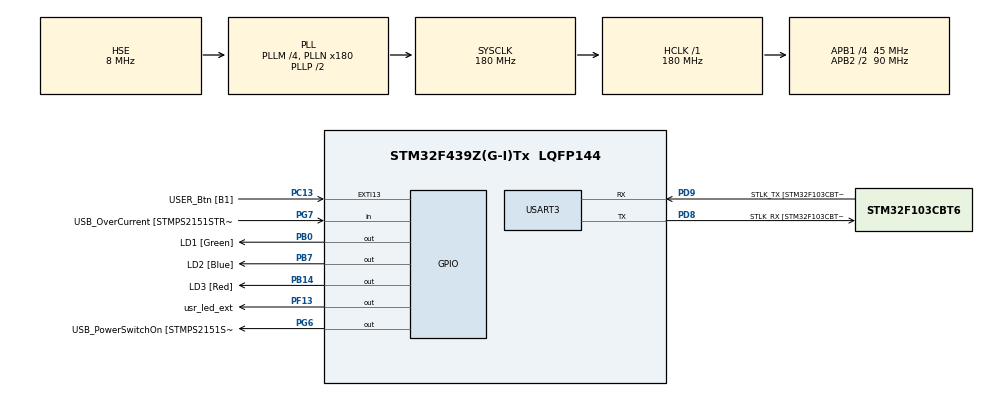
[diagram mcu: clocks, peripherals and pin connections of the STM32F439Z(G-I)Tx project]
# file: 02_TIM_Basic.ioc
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Mcu.Family=STM32F4
Mcu.Name=STM32F439Z(G-I)Tx
Mcu.Package=LQFP144
NVIC.PriorityGroup=NVIC_PRIORITYGROUP_4
NVIC.TIM1_UP_TIM10_IRQn=true\:0\:0\:false\:false\:true\:true\:true\:true
PA13.GPIO_Label=TMS
PA13.Mode=Serial_Wire
PA13.Signal=SYS_JTMS-SWDIO
PA14.GPIO_Label=TCK
PA14.Mode=Serial_Wire
PA14.Signal=SYS_JTCK-SWCLK
PB0.GPIO_Label=LD1 [Green]
PB0.Signal=GPIO_Output
PB14.GPIO_Label=LD3 [Red]
PB14.Signal=GPIO_Output
PB7.GPIO_Label=LD2 [Blue]
PB7.Signal=GPIO_Output
PC13.GPIO_Label=USER_Btn [B1]
PC13.Signal=GPXTI13
PC14/OSC32_IN.Mode=LSE-External-Oscillator
PC14/OSC32_IN.Signal=RCC_OSC32_IN
PC15/OSC32_OUT.Mode=LSE-External-Oscillator
PC15/OSC32_OUT.Signal=RCC_OSC32_OUT
PD8.GPIO_Label=STLK_RX [STM32F103CBT6_PA3]
PD8.Mode=Asynchronous
PD8.Signal=USART3_TX
PD9.GPIO_Label=STLK_TX [STM32F103CBT6_PA2]
PD9.Mode=Asynchronous
PD9.Signal=USART3_RX
PF13.GPIO_Label=usr_led_ext
PF13.Signal=GPIO_Output
PG6.GPIO_Label=USB_PowerSwitchOn [STMPS2151STR_EN]
PG6.Signal=GPIO_Output
PG7.GPIO_Label=USB_OverCurrent [STMPS2151STR_FAULT]
PG7.Signal=GPIO_Input
PH0/OSC_IN.GPIO_Label=MCO [STM32F103CBT6_PA8]
PH0/OSC_IN.Mode=HSE-External-Oscillator
PH0/OSC_IN.Signal=RCC_OSC_IN
PH1/OSC_OUT.Mode=HSE-External-Oscillator
PH1/OSC_OUT.Signal=RCC_OSC_OUT
ProjectManager.HeapSize=0x200
ProjectManager.StackSize=0x400
ProjectManager.TargetToolchain=STM32CubeIDE
RCC.48MHZClocksFreq_Value=51428571.428571425
RCC.AHBFreq_Value=180000000
RCC.APB1CLKDivider=RCC_HCLK_DIV4
RCC.APB1Freq_Value=45000000
RCC.APB1TimFreq_Value=90000000
RCC.APB2CLKDivider=RCC_HCLK_DIV2
RCC.APB2Freq_Value=90000000
RCC.APB2TimFreq_Value=180000000
RCC.CortexFreq_Value=180000000
RCC.HCLKFreq_Value=180000000
RCC.HSE_VALUE=8000000
RCC.HSI_VALUE=16000000
RCC.PLLM=4
RCC.PLLMUL=RCC_PLL_MUL9
RCC.PLLN=180
RCC.PLLQ=7
RCC.PLLSourceVirtual=RCC_PLLSOURCE_HSE
RCC.PRESCALERUSB=RCC_USBCLKSOURCE_PLL_DIV1_5
RCC.SYSCLKFreq_VALUE=180000000
RCC.SYSCLKSource=RCC_SYSCLKSOURCE_PLLCLK
RCC.SYSCLKSourceVirtual=RCC_SYSCLKSOURCE_PLLCLK
RCC.USBFreq_Value=48000000
RCC.VCOOutputFreq_Value=360000000
TIM1.Period=5000-1
TIM1.Prescaler=9000-1
USART3.VirtualMode=VM_ASYNC
VP_TIM1_VS_ClockSourceINT.Mode=Internal
board=NUCLEO-F439ZI

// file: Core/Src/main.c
/* USER CODE BEGIN Header */
/**
  ******************************************************************************
  * @file           : main.c
  * @brief          : Main program body
  ******************************************************************************
  * @attention
  *
  * Copyright (c) 2026 STMicroelectronics.
  * All rights reserved.
  *
  * This software is licensed under terms that can be found in the LICENSE file
  * in the root directory of this software component.
  * If no LICENSE file comes with this software, it is provided AS-IS.
  *
  ******************************************************************************
  */
/* USER CODE END Header */
#include "main.h"

/* USER CODE BEGIN Includes */
#include <stdio.h>
#include <string.h>
/* USER CODE END Includes */

TIM_HandleTypeDef htim1;

UART_HandleTypeDef huart3;

/* USER CODE BEGIN PV */
uint32_t last_log_time = 0;  // Almacena el último tiempo en ms
uint32_t log_interval = 1000; // Intervalo de 1 segundo para la UART
uint32_t loop_counter = 0;
char msg_buffer[50];
/* USER CODE END PV */

void SystemClock_Config(void);
static void MX_GPIO_Init(void);
static void MX_USART3_UART_Init(void);
static void MX_TIM1_Init(void);
/* USER CODE BEGIN PFP */
void Debug_Log(const char *msg);
/* USER CODE END PFP */

/* USER CODE BEGIN 0 */
/**
 * @brief Envía un mensaje por UART3 de forma simplificada.
 * @param msg Cadena de texto a transmitir.
 */
void Debug_Log(const char *msg) {
    HAL_UART_Transmit(&huart3, (uint8_t*)msg, strlen(msg), 100);
}
/* USER CODE END 0 */

int main(void)
{

  /* MCU Configuration--------------------------------------------------------*/

  /* Reset of all peripherals, Initializes the Flash interface and the Systick. */
  HAL_Init();

  /* Configure the system clock */
  SystemClock_Config();

  /* Initialize all configured peripherals */
  MX_GPIO_Init();
  MX_USART3_UART_Init();
  MX_TIM1_Init();
  /* USER CODE BEGIN 2 */
  // Iniciamos el Timer 6 con interrupciones
  HAL_TIM_Base_Start_IT(&htim1);

  Debug_Log("Sistema Iniciado. TIM1 (Interrupcion) y SysTick (Polling)...\r\n");
  /* USER CODE END 2 */

  /* Infinite loop */
  while (1)
  {

    /* USER CODE BEGIN 3 */
	  // Lógica NO BLOQUEANTE para la UART
	      // Restamos el tiempo actual menos el último tiempo guardado
	      if (HAL_GetTick() - last_log_time >= log_interval)
	      {
	          last_log_time = HAL_GetTick(); // Actualizamos el tiempo

	          loop_counter++;
	          sprintf(msg_buffer, "Ciclo de Main: %lu\r\n", loop_counter);
	          Debug_Log(msg_buffer);
	      }

	      // Aquí el CPU está libre el 99.9% del tiempo para hacer otras tareas.
	      // Por ejemplo, procesar datos de sensores o lógica de control.
  }
  /* USER CODE END 3 */
}

void SystemClock_Config(void)
{
  RCC_OscInitTypeDef RCC_OscInitStruct = {0};
  RCC_ClkInitTypeDef RCC_ClkInitStruct = {0};

  /** Configure the main internal regulator output voltage
  */
  __HAL_RCC_PWR_CLK_ENABLE();
  __HAL_PWR_VOLTAGESCALING_CONFIG(PWR_REGULATOR_VOLTAGE_SCALE1);

  /** Initializes the RCC Oscillators according to the specified parameters
  * in the RCC_OscInitTypeDef structure.
  */
  RCC_OscInitStruct.OscillatorType = RCC_OSCILLATORTYPE_HSE;
  RCC_OscInitStruct.HSEState = RCC_HSE_ON;
  RCC_OscInitStruct.PLL.PLLState = RCC_PLL_ON;
  RCC_OscInitStruct.PLL.PLLSource = RCC_PLLSOURCE_HSE;
  RCC_OscInitStruct.PLL.PLLM = 4;
  RCC_OscInitStruct.PLL.PLLN = 180;
  RCC_OscInitStruct.PLL.PLLP = RCC_PLLP_DIV2;
  RCC_OscInitStruct.PLL.PLLQ = 7;
  if (HAL_RCC_OscConfig(&RCC_OscInitStruct) != HAL_OK)
  {
    Error_Handler();
  }

  /** Activate the Over-Drive mode
  */
  if (HAL_PWREx_EnableOverDrive() != HAL_OK)
  {
    Error_Handler();
  }

  /** Initializes the CPU, AHB and APB buses clocks
  */
  RCC_ClkInitStruct.ClockType = RCC_CLOCKTYPE_HCLK|RCC_CLOCKTYPE_SYSCLK
                              |RCC_CLOCKTYPE_PCLK1|RCC_CLOCKTYPE_PCLK2;
  RCC_ClkInitStruct.SYSCLKSource = RCC_SYSCLKSOURCE_PLLCLK;
  RCC_ClkInitStruct.AHBCLKDivider = RCC_SYSCLK_DIV1;
  RCC_ClkInitStruct.APB1CLKDivider = RCC_HCLK_DIV4;
  RCC_ClkInitStruct.APB2CLKDivider = RCC_HCLK_DIV2;

  if (HAL_RCC_ClockConfig(&RCC_ClkInitStruct, FLASH_LATENCY_5) != HAL_OK)
  {
    Error_Handler();
  }
}

static void MX_TIM1_Init(void)
{

  TIM_ClockConfigTypeDef sClockSourceConfig = {0};
  TIM_MasterConfigTypeDef sMasterConfig = {0};

  htim1.Instance = TIM1;
  htim1.Init.Prescaler = 9000-1;
  htim1.Init.CounterMode = TIM_COUNTERMODE_UP;
  htim1.Init.Period = 5000-1;
  htim1.Init.ClockDivision = TIM_CLOCKDIVISION_DIV1;
  htim1.Init.RepetitionCounter = 0;
  htim1.Init.AutoReloadPreload = TIM_AUTORELOAD_PRELOAD_DISABLE;
  if (HAL_TIM_Base_Init(&htim1) != HAL_OK)
  {
    Error_Handler();
  }
  sClockSourceConfig.ClockSource = TIM_CLOCKSOURCE_INTERNAL;
  if (HAL_TIM_ConfigClockSource(&htim1, &sClockSourceConfig) != HAL_OK)
  {
    Error_Handler();
  }
  sMasterConfig.MasterOutputTrigger = TIM_TRGO_RESET;
  sMasterConfig.MasterSlaveMode = TIM_MASTERSLAVEMODE_DISABLE;
  if (HAL_TIMEx_MasterConfigSynchronization(&htim1, &sMasterConfig) != HAL_OK)
  {
    Error_Handler();
  }

}

static void MX_USART3_UART_Init(void)
{

  huart3.Instance = USART3;
  huart3.Init.BaudRate = 115200;
  huart3.Init.WordLength = UART_WORDLENGTH_8B;
  huart3.Init.StopBits = UART_STOPBITS_1;
  huart3.Init.Parity = UART_PARITY_NONE;
  huart3.Init.Mode = UART_MODE_TX_RX;
  huart3.Init.HwFlowCtl = UART_HWCONTROL_NONE;
  huart3.Init.OverSampling = UART_OVERSAMPLING_16;
  if (HAL_UART_Init(&huart3) != HAL_OK)
  {
    Error_Handler();
  }

}

static void MX_GPIO_Init(void)
{
  GPIO_InitTypeDef GPIO_InitStruct = {0};

  /* GPIO Ports Clock Enable */
  __HAL_RCC_GPIOC_CLK_ENABLE();
  __HAL_RCC_GPIOH_CLK_ENABLE();
  __HAL_RCC_GPIOB_CLK_ENABLE();
  __HAL_RCC_GPIOF_CLK_ENABLE();
  __HAL_RCC_GPIOD_CLK_ENABLE();
  __HAL_RCC_GPIOG_CLK_ENABLE();
  __HAL_RCC_GPIOA_CLK_ENABLE();

  /*Configure GPIO pin Output Level */
  HAL_GPIO_WritePin(GPIOB, LD1_Pin|LD3_Pin|LD2_Pin, GPIO_PIN_RESET);

  /*Configure GPIO pin Output Level */
  HAL_GPIO_WritePin(usr_led_ext_GPIO_Port, usr_led_ext_Pin, GPIO_PIN_RESET);

  /*Configure GPIO pin Output Level */
  HAL_GPIO_WritePin(USB_PowerSwitchOn_GPIO_Port, USB_PowerSwitchOn_Pin, GPIO_PIN_RESET);

  /*Configure GPIO pin : USER_Btn_Pin */
  GPIO_InitStruct.Pin = USER_Btn_Pin;
  GPIO_InitStruct.Mode = GPIO_MODE_IT_RISING;
  GPIO_InitStruct.Pull = GPIO_NOPULL;
  HAL_GPIO_Init(USER_Btn_GPIO_Port, &GPIO_InitStruct);

  /*Configure GPIO pins : LD1_Pin LD3_Pin LD2_Pin */
  GPIO_InitStruct.Pin = LD1_Pin|LD3_Pin|LD2_Pin;
  GPIO_InitStruct.Mode = GPIO_MODE_OUTPUT_PP;
  GPIO_InitStruct.Pull = GPIO_NOPULL;
  GPIO_InitStruct.Speed = GPIO_SPEED_FREQ_LOW;
  HAL_GPIO_Init(GPIOB, &GPIO_InitStruct);

  /*Configure GPIO pin : usr_led_ext_Pin */
  GPIO_InitStruct.Pin = usr_led_ext_Pin;
  GPIO_InitStruct.Mode = GPIO_MODE_OUTPUT_PP;
  GPIO_InitStruct.Pull = GPIO_NOPULL;
  GPIO_InitStruct.Speed = GPIO_SPEED_FREQ_LOW;
  HAL_GPIO_Init(usr_led_ext_GPIO_Port, &GPIO_InitStruct);

  /*Configure GPIO pin : USB_PowerSwitchOn_Pin */
  GPIO_InitStruct.Pin = USB_PowerSwitchOn_Pin;
  GPIO_InitStruct.Mode = GPIO_MODE_OUTPUT_PP;
  GPIO_InitStruct.Pull = GPIO_NOPULL;
  GPIO_InitStruct.Speed = GPIO_SPEED_FREQ_LOW;
  HAL_GPIO_Init(USB_PowerSwitchOn_GPIO_Port, &GPIO_InitStruct);

  /*Configure GPIO pin : USB_OverCurrent_Pin */
  GPIO_InitStruct.Pin = USB_OverCurrent_Pin;
  GPIO_InitStruct.Mode = GPIO_MODE_INPUT;
  GPIO_InitStruct.Pull = GPIO_NOPULL;
  HAL_GPIO_Init(USB_OverCurrent_GPIO_Port, &GPIO_InitStruct);

}

/* USER CODE BEGIN 4 */
void HAL_TIM_PeriodElapsedCallback(TIM_HandleTypeDef *htim)
{
    if (htim->Instance == TIM1)
    {
        HAL_GPIO_TogglePin(usr_led_ext_GPIO_Port, usr_led_ext_Pin);
    }
}
/* USER CODE END 4 */

void Error_Handler(void)
{
  __disable_irq();
  while (1)
  {
  }
}
